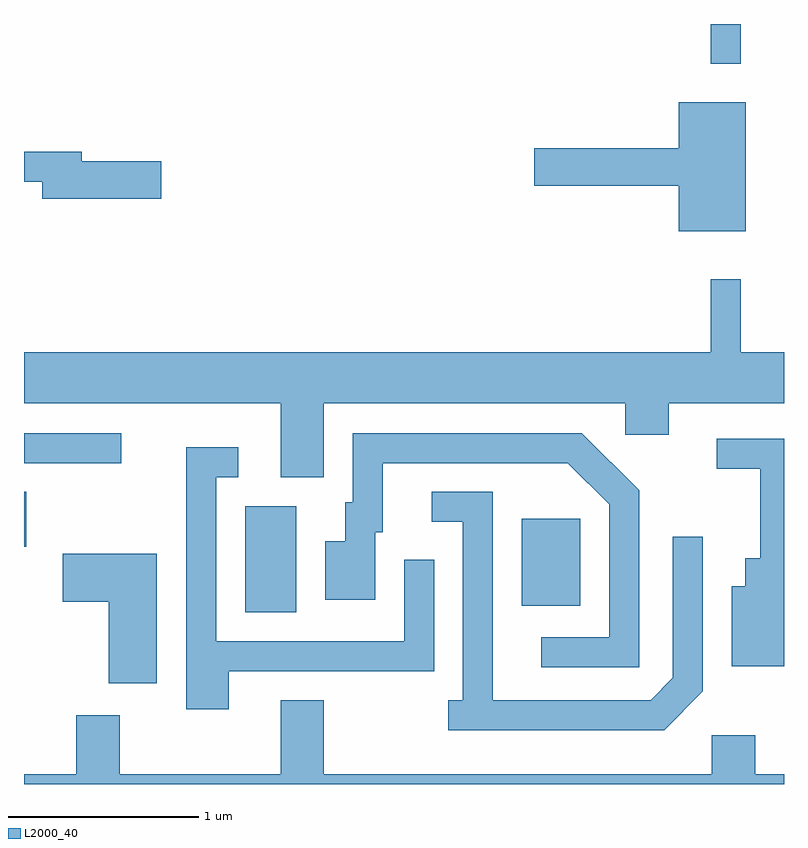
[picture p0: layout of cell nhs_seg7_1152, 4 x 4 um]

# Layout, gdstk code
import gdstk
lib = gdstk.Library(unit=1e-6, precision=1e-09)
def R(c, l, rs):  # rectangles x0, y0, x1, y1
    for r in rs: c.add(gdstk.rectangle(r[:2], r[2:], *l))
def P(c, l, *ps):  # polygons
    for p in ps: c.add(gdstk.Polygon(p, *l))
L2000_40 = (2000, 40)

nhs_seg7_1152 = lib.new_cell('nhs_seg7_1152')
R(nhs_seg7_1152, L2000_40, [(220.776,1773.156,221.044,1773.714), (222.231,1773.191,222.539,1773.649), (219.611,1773.501,219.624,1773.789), (219.611,1773.941,220.123,1774.099), (223.226,1776.043,223.384,1776.252)])
P(nhs_seg7_1152, L2000_40, [(223.409,1775.839),(223.056,1775.839),(223.056,1775.599),(222.296,1775.599),(222.296,1775.401),(223.056,1775.401),(223.056,1775.161),(223.409,1775.161)],
  [(220.334,1775.529),(219.914,1775.529),(219.914,1775.579),(219.611,1775.579),(219.611,1775.421),(219.706,1775.421),(219.706,1775.331),(220.334,1775.331)],
  [(221.189,1774.256),(222.776,1774.256),(222.776,1774.091),(223.004,1774.091),(223.004,1774.256),(223.611,1774.256),(223.611,1774.524),(223.384,1774.524),(223.384,1774.908),(223.226,1774.908),(223.226,1774.524),(219.611,1774.524),(219.611,1774.256),(220.961,1774.256),(220.961,1773.866),(221.189,1773.866)],
  [(222.849,1773.797),(222.547,1774.099),(221.341,1774.099),(221.341,1773.734),(221.301,1773.734),(221.301,1773.529),(221.196,1773.529),(221.196,1773.221),(221.459,1773.221),(221.459,1773.576),(221.499,1773.576),(221.499,1773.941),(222.474,1773.941),(222.691,1773.724),(222.691,1773.024),(222.333,1773.024),(222.333,1772.866),(222.849,1772.866)],
  [(223.611,1774.069),(223.258,1774.069),(223.258,1773.911),(223.486,1773.911),(223.486,1773.439),(223.406,1773.439),(223.406,1773.294),(223.336,1773.294),(223.336,1772.871),(223.611,1772.871)],
  [(220.689,1772.846),(221.769,1772.846),(221.769,1773.433),(221.611,1773.433),(221.611,1773.004),(220.624,1773.004),(220.624,1773.866),(220.738,1773.866),(220.738,1774.024),(220.466,1774.024),(220.466,1772.646),(220.689,1772.646)],
  [(223.184,1772.739),(223.184,1773.553),(223.026,1773.553),(223.026,1772.812),(222.909,1772.694),(222.079,1772.694),(222.079,1773.789),(221.758,1773.789),(221.758,1773.631),(221.921,1773.631),(221.921,1772.694),(221.843,1772.694),(221.843,1772.536),(222.982,1772.536)],
  [(220.309,1773.464),(219.816,1773.464),(219.816,1773.211),(220.056,1773.211),(220.056,1772.781),(220.309,1772.781)],
  [(223.611,1772.304),(223.459,1772.304),(223.459,1772.509),(223.231,1772.509),(223.231,1772.304),(221.189,1772.304),(221.189,1772.694),(220.961,1772.694),(220.961,1772.304),(220.114,1772.304),(220.114,1772.614),(219.886,1772.614),(219.886,1772.304),(219.611,1772.304),(219.611,1772.252),(223.611,1772.252)])

lib.write_gds('nhs_seg7_1152.gds')
